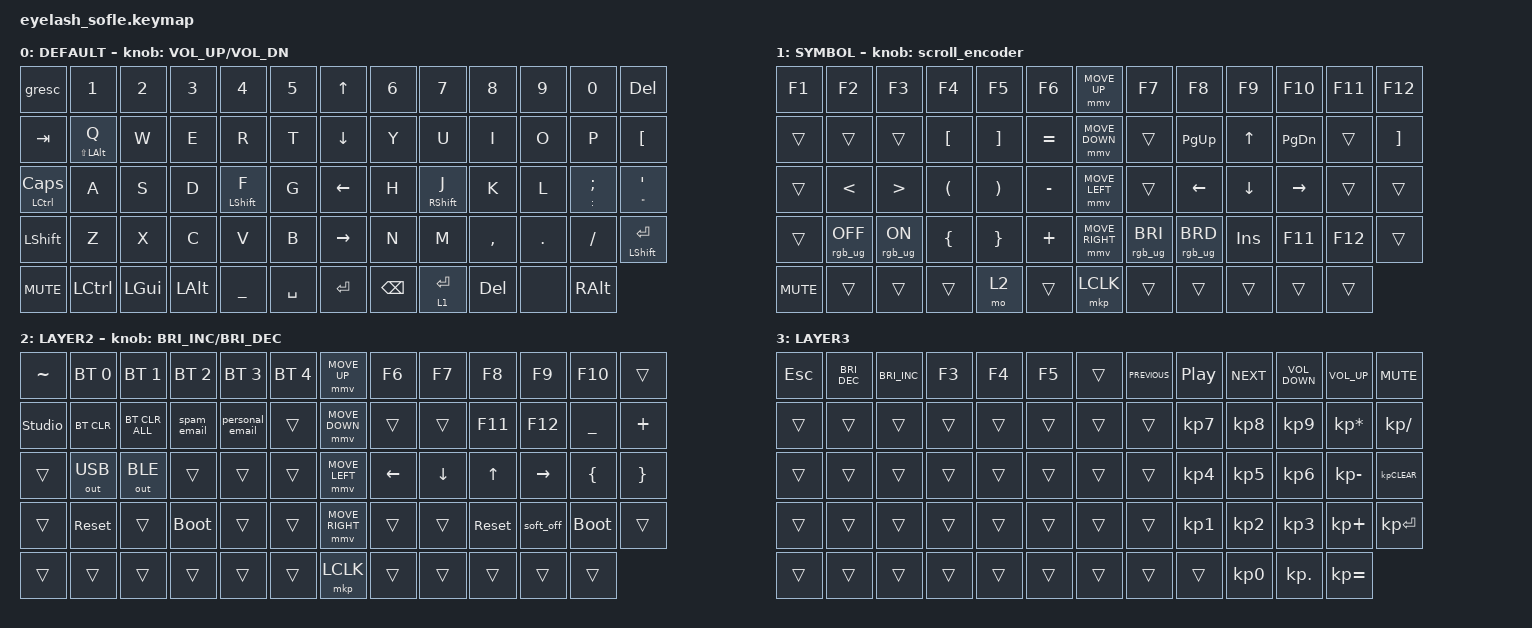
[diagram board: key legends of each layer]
#define ZMK_POINTING_DEFAULT_MOVE_VAL 1200  // 600
#define ZMK_POINTING_DEFAULT_SCRL_VAL 25   // 10


#include <input/processors.dtsi>
#include <zephyr/dt-bindings/input/input-event-codes.h>
#include <behaviors.dtsi>
#include <dt-bindings/zmk/bt.h>
#include <dt-bindings/zmk/ext_power.h>
#include <dt-bindings/zmk/keys.h>
#include <dt-bindings/zmk/pointing.h>
#include <dt-bindings/zmk/rgb.h>
#include <dt-bindings/zmk/outputs.h>

&mmv_input_listener { input-processors = <&zip_xy_scaler 2 1>; };

&msc_input_listener { input-processors = <&zip_scroll_scaler 2 1>; };

&msc {
    acceleration-exponent = <1>;      // 0
    time-to-max-speed-ms = <100>;       // 300
    delay-ms = <0>;                   // 0
};

&mmv {
    time-to-max-speed-ms = <500>;
    acceleration-exponent = <1>;
    trigger-period-ms = <16>;
};


/ {
    behaviors {
        gresc: grave_escape {
            compatible = "zmk,behavior-mod-morph";
            #binding-cells = <0>;
            bindings = <&kp ESC>, <&kp GRAVE>;
            mods = <(MOD_LGUI|MOD_LSFT|MOD_RGUI|MOD_RSFT)>;
        };

        generic_ht_kp: generic_ht_kp {
            compatible = "zmk,behavior-hold-tap";
            #binding-cells = <2>;
            flavor = "tap-preferred";
            tapping-term-ms = <180>;
            quick-tap-ms = <180>;
            bindings = <&kp &kp>;
        };

        lang_q: lang_q {
            compatible = "zmk,behavior-hold-tap";
            #binding-cells = <2>;
            flavor = "balanced";
            tapping-term-ms = <280>;
            require-prior-idle-ms = <0>;
            bindings = <&kp &kp>;
        };

        hm_shift: home_row_shift {
            compatible = "zmk,behavior-hold-tap";
            #binding-cells = <2>;
            flavor = "balanced";
            tapping-term-ms = <200>;
            quick-tap-ms = <175>;
            require-prior-idle-ms = <150>;
            bindings = <&kp &kp>;
        };
    };


    combos {
        compatible = "zmk,combos";

        combo_shift_enter {
            timeout-ms = <50>;
            key-positions = <51 60>;
            bindings = <&shft_ent>;
        };
    };

    macros {

        personal_email: personal_email {
            compatible = "zmk,behavior-macro";
            label = "PERSONAL_EMAIL";
            #binding-cells = <0>;
            bindings = <&kp P &kp E &kp R &kp S &kp O &kp N &kp A &kp L &kp E &kp M &kp A &kp I &kp L &kp AT &kp G &kp M &kp A &kp I &kp L &kp DOT &kp C &kp O &kp M>;
        };

        spam_email: spam_email {
            compatible = "zmk,behavior-macro";
            label = "SPAM_EMAIL";
            #binding-cells = <0>;
            bindings = <&kp S &kp P &kp A &kp M &kp E &kp M &kp A &kp I &kp L &kp AT &kp G &kp M &kp A &kp I &kp L &kp DOT &kp C &kp O &kp M>;
        };

        shft_ent: shift_enter_macro {
            compatible = "zmk,behavior-macro";
            #binding-cells = <0>;
            bindings
                = <&macro_press &kp LSHFT>
                , <&macro_tap &kp ENTER>
                , <&macro_release &kp LSHFT>
                ;
        };
    };

    scroll_encoder: scroll_encoder {
        compatible = "zmk,behavior-sensor-rotate";
        #sensor-binding-cells = <0>;
        bindings = <&msc SCRL_DOWN>, <&msc SCRL_UP>;
        tap-ms = <100>;
    };

    keymap {
        compatible = "zmk,keymap";

        layer0 {
            bindings = <
&gresc      &kp N1     &kp N2        &kp N3        &kp N4  &kp N5       &kp UP_ARROW     &kp N6     &kp N7     &kp N8     &kp N9           &kp N0      &kp DELETE
&kp TAB     &lang_q LS(LALT) Q &kp W         &kp E         &kp R   &kp T        &kp DOWN_ARROW   &kp Y      &kp U      &kp I      &kp O            &kp P       &kp LBKT
&mt LCTRL CAPSLOCK  &kp A      &kp S         &kp D         &hm_shift LSHFT F   &kp G        &kp LEFT_ARROW   &kp H      &hm_shift RSHFT J      &kp K      &kp L            &generic_ht_kp COLON SEMI    &generic_ht_kp DQT SQT
&kp LSHFT   &kp Z      &kp X         &kp C         &kp V   &kp B        &kp RIGHT_ARROW  &kp N      &kp M      &kp COMMA  &kp DOT          &kp FSLH    &mt LSHIFT ENTER
&kp C_MUTE  &kp LCTRL  &kp LEFT_GUI  &kp LEFT_ALT  &kp UNDER   &kp SPACE    &kp ENTER        &kp BACKSPACE  &lt 1 ENTER  &kp DELETE      &none  &kp RALT
            >;

            sensor-bindings = <&inc_dec_kp C_VOLUME_UP C_VOL_DN>;
            display-name = "DEFAULT";
        };

        layer_1 {
            bindings = <
&kp F1      &kp F2           &kp F3          &kp F4           &kp F5           &kp F6            &mmv MOVE_UP     &kp F7           &kp F8           &kp F9      &kp F10    &kp F11   &kp F12
&trans      &trans           &trans          &kp LBKT         &kp RBKT         &kp EQUAL            &mmv MOVE_DOWN   &trans           &kp PAGE_UP           &kp UP      &kp PAGE_DOWN     &trans    &kp RBKT
&trans      &kp LT           &kp GT          &kp LPAR         &kp RPAR         &kp MINUS            &mmv MOVE_LEFT   &trans           &kp LEFT         &kp DOWN    &kp RIGHT  &trans    &trans
&trans      &rgb_ug RGB_OFF  &rgb_ug RGB_ON  &kp LBRC         &kp RBRC         &kp PLUS   &mmv MOVE_RIGHT  &rgb_ug RGB_BRI  &rgb_ug RGB_BRD  &kp INSERT  &kp F11    &kp F12   &trans
&kp C_MUTE  &trans           &trans          &trans        &mo 2        &trans          &mkp LCLK        &trans           &trans           &trans      &trans     &trans
            >;

            display-name = "SYMBOL";
            sensor-bindings = <&scroll_encoder>;
        };

        layer_2 {
            bindings = <
&kp TILDE  &bt BT_SEL 0  &bt BT_SEL 1    &bt BT_SEL 2  &bt BT_SEL 3  &bt BT_SEL 4    &mmv MOVE_UP     &kp F6          &kp F7            &kp F8            &kp F9            &kp F10           &trans
&studio_unlock  &bt BT_CLR    &bt BT_CLR_ALL  &spam_email   &personal_email    &trans          &mmv MOVE_DOWN   &trans          &trans            &kp F11           &kp F12           &kp UNDER         &kp PLUS
&trans     &out OUT_USB  &out OUT_BLE    &trans        &trans             &trans          &mmv MOVE_LEFT   &kp LEFT_ARROW  &kp DOWN_ARROW    &kp UP_ARROW      &kp RIGHT_ARROW   &kp LBRC          &kp RBRC
&trans     &sys_reset    &trans          &bootloader   &trans             &trans          &mmv MOVE_RIGHT  &trans          &trans            &sys_reset        &soft_off         &bootloader       &trans
&trans     &trans        &trans          &trans        &trans             &trans          &mkp LCLK        &trans          &trans            &trans            &trans            &trans
            >;

            display-name = "LAYER2";
            sensor-bindings = <&inc_dec_kp C_BRIGHTNESS_INC C_BRIGHTNESS_DEC>;
        };

        layer_3 {
            bindings = <
&kp ESC   &kp C_BRIGHTNESS_DEC    &kp C_BRIGHTNESS_INC    &kp F3    &kp F4    &kp F5    &trans  &kp C_PREVIOUS  &kp C_PLAY_PAUSE  &kp C_NEXT        &kp K_VOLUME_DOWN   &kp K_VOLUME_UP     &kp K_MUTE
&trans    &trans                  &trans                  &trans    &trans    &trans    &trans  &trans          &kp KP_NUMBER_7   &kp KP_NUMBER_8   &kp KP_NUMBER_9     &kp KP_MULTIPLY     &kp KP_DIVIDE
&trans    &trans                  &trans                  &trans    &trans    &trans    &trans  &trans          &kp KP_NUMBER_4   &kp KP_NUMBER_5   &kp KP_NUMBER_6     &kp KP_MINUS        &kp KP_CLEAR
&trans    &trans                  &trans                  &trans    &trans    &trans    &trans  &trans          &kp KP_NUMBER_1   &kp KP_NUMBER_2   &kp KP_NUMBER_3     &kp KP_PLUS         &kp KP_ENTER
&trans    &trans                  &trans                  &trans    &trans    &trans    &trans  &trans          &trans            &kp KP_NUMBER_0   &kp KP_DOT          &kp KP_EQUAL
            >;

            display-name = "LAYER3";
        };
    };
};
